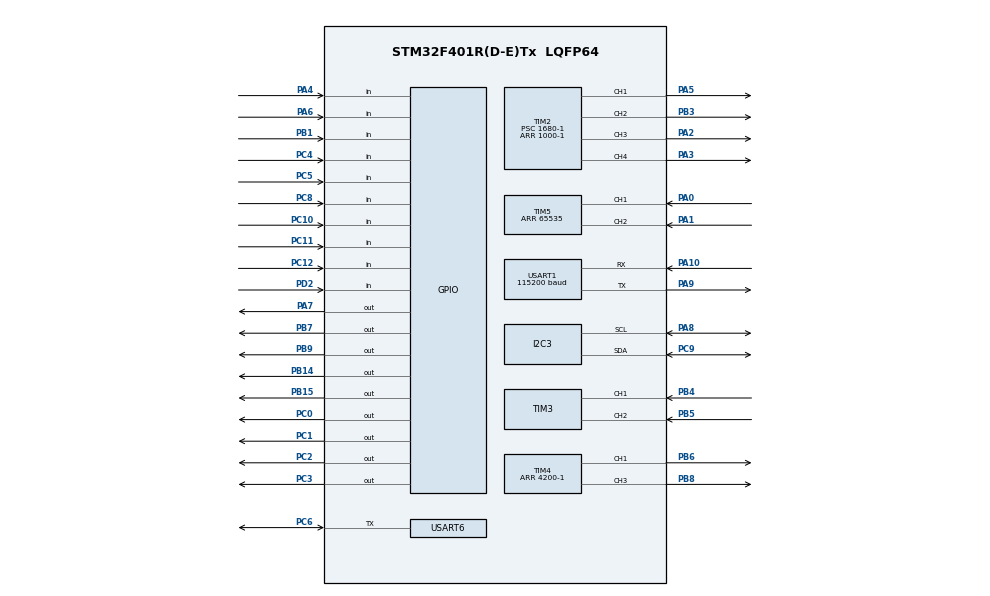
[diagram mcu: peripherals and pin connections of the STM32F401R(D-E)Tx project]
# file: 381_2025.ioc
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Dma.Request0=USART1_RX
Dma.Request1=USART1_TX
Dma.USART1_RX.0.Direction=DMA_PERIPH_TO_MEMORY
Dma.USART1_RX.0.FIFOMode=DMA_FIFOMODE_DISABLE
Dma.USART1_RX.0.Instance=DMA2_Stream2
Dma.USART1_RX.0.MemDataAlignment=DMA_MDATAALIGN_BYTE
Dma.USART1_RX.0.MemInc=DMA_MINC_ENABLE
Dma.USART1_RX.0.Mode=DMA_CIRCULAR
Dma.USART1_RX.0.PeriphDataAlignment=DMA_PDATAALIGN_BYTE
Dma.USART1_RX.0.PeriphInc=DMA_PINC_DISABLE
Dma.USART1_RX.0.Priority=DMA_PRIORITY_LOW
Dma.USART1_TX.1.Direction=DMA_MEMORY_TO_PERIPH
Dma.USART1_TX.1.FIFOMode=DMA_FIFOMODE_DISABLE
Dma.USART1_TX.1.Instance=DMA2_Stream7
Dma.USART1_TX.1.MemDataAlignment=DMA_MDATAALIGN_BYTE
Dma.USART1_TX.1.MemInc=DMA_MINC_ENABLE
Dma.USART1_TX.1.Mode=DMA_CIRCULAR
Dma.USART1_TX.1.PeriphDataAlignment=DMA_PDATAALIGN_BYTE
Dma.USART1_TX.1.PeriphInc=DMA_PINC_DISABLE
Dma.USART1_TX.1.Priority=DMA_PRIORITY_LOW
Mcu.Family=STM32F4
Mcu.Name=STM32F401R(D-E)Tx
Mcu.Package=LQFP64
NVIC.DMA2_Stream2_IRQn=true\:0\:0\:false\:false\:true\:false\:true\:true
NVIC.DMA2_Stream7_IRQn=true\:0\:0\:false\:false\:true\:false\:true\:true
NVIC.PriorityGroup=NVIC_PRIORITYGROUP_0
NVIC.TIM1_UP_TIM10_IRQn=true\:0\:0\:false\:false\:true\:true\:true\:true
PA0-WKUP.Signal=S_TIM5_CH1
PA1.Signal=S_TIM5_CH2
PA10.Mode=Asynchronous
PA10.Signal=USART1_RX
PA2.Signal=S_TIM2_CH3
PA3.Signal=S_TIM2_CH4
PA4.GPIO_PuPd=GPIO_PULLDOWN
PA4.Signal=GPIO_Input
PA5.Signal=S_TIM2_CH1_ETR
PA6.GPIO_PuPd=GPIO_PULLDOWN
PA6.Signal=GPIO_Input
PA7.Signal=GPIO_Output
PA8.Mode=I2C
PA8.Signal=I2C3_SCL
PA9.Mode=Asynchronous
PA9.Signal=USART1_TX
PB1.GPIO_PuPd=GPIO_PULLDOWN
PB1.Signal=GPIO_Input
PB14.Signal=GPIO_Output
PB15.Signal=GPIO_Output
PB3.Signal=S_TIM2_CH2
PB4.Signal=S_TIM3_CH1
PB5.Signal=S_TIM3_CH2
PB6.Signal=S_TIM4_CH1
PB7.Signal=GPIO_Output
PB8.Signal=S_TIM4_CH3
PB9.Signal=GPIO_Output
PC0.Signal=GPIO_Output
PC1.Signal=GPIO_Output
PC10.GPIO_PuPd=GPIO_PULLDOWN
PC10.Signal=GPIO_Input
PC11.GPIO_PuPd=GPIO_PULLDOWN
PC11.Signal=GPIO_Input
PC12.GPIO_PuPd=GPIO_PULLDOWN
PC12.Signal=GPIO_Input
PC2.Signal=GPIO_Output
PC3.Signal=GPIO_Output
PC4.Signal=GPIO_Input
PC5.Signal=GPIO_Input
PC6.GPIO_PuPd=GPIO_PULLUP
PC6.Mode=Half_duplex(single_wire_mode)
PC6.Signal=USART6_TX
PC8.GPIO_PuPd=GPIO_PULLDOWN
PC8.Signal=GPIO_Input
PC9.Mode=I2C
PC9.Signal=I2C3_SDA
PD2.GPIO_PuPd=GPIO_PULLDOWN
PD2.Signal=GPIO_Input
PH0\ -\ OSC_IN.Mode=HSE-External-Oscillator
PH0\ -\ OSC_IN.Signal=RCC_OSC_IN
PH1\ -\ OSC_OUT.Mode=HSE-External-Oscillator
PH1\ -\ OSC_OUT.Signal=RCC_OSC_OUT
ProjectManager.HeapSize=0x200
ProjectManager.StackSize=0x400
ProjectManager.TargetToolchain=STM32CubeIDE
RCC.48MHZClocksFreq_Value=24000000
RCC.AHBFreq_Value=84000000
RCC.APB1CLKDivider=RCC_HCLK_DIV2
RCC.APB1Freq_Value=42000000
RCC.APB1TimFreq_Value=84000000
RCC.APB2Freq_Value=84000000
RCC.APB2TimFreq_Value=84000000
RCC.CortexFreq_Value=84000000
RCC.HCLKFreq_Value=84000000
RCC.HSE_VALUE=8000000
RCC.HSI_VALUE=16000000
RCC.LSE_VALUE=32768
RCC.PLLM=4
RCC.PLLN=84
RCC.PLLQ=7
RCC.PLLSourceVirtual=RCC_PLLSOURCE_HSE
RCC.SYSCLKFreq_VALUE=84000000
RCC.SYSCLKSource=RCC_SYSCLKSOURCE_PLLCLK
RCC.VCOOutputFreq_Value=168000000
SH.S_TIM2_CH1_ETR.0=TIM2_CH1,PWM Generation1 CH1
SH.S_TIM2_CH2.0=TIM2_CH2,PWM Generation2 CH2
SH.S_TIM2_CH3.0=TIM2_CH3,PWM Generation3 CH3
SH.S_TIM2_CH4.0=TIM2_CH4,PWM Generation4 CH4
SH.S_TIM3_CH1.0=TIM3_CH1,Encoder_Interface
SH.S_TIM3_CH2.0=TIM3_CH2,Encoder_Interface
SH.S_TIM4_CH1.0=TIM4_CH1,PWM Generation1 CH1
SH.S_TIM4_CH3.0=TIM4_CH3,PWM Generation3 CH3
SH.S_TIM5_CH1.0=TIM5_CH1,Encoder_Interface
SH.S_TIM5_CH2.0=TIM5_CH2,Encoder_Interface
TIM10.Period=1000-1
TIM10.Prescaler=84-1
TIM2.Channel-PWM\ Generation1\ CH1=TIM_CHANNEL_1
TIM2.Channel-PWM\ Generation2\ CH2=TIM_CHANNEL_2
TIM2.Channel-PWM\ Generation3\ CH3=TIM_CHANNEL_3
TIM2.Channel-PWM\ Generation4\ CH4=TIM_CHANNEL_4
TIM2.Period=1000-1
TIM2.Prescaler=1680-1
TIM3.EncoderMode=TIM_ENCODERMODE_TI12
TIM3.IC1Polarity=TIM_ICPOLARITY_FALLING
TIM3.IC2Polarity=TIM_ICPOLARITY_RISING
TIM4.AutoReloadPreload=TIM_AUTORELOAD_PRELOAD_DISABLE
TIM4.Channel-PWM\ Generation1\ CH1=TIM_CHANNEL_1
TIM4.Channel-PWM\ Generation3\ CH3=TIM_CHANNEL_3
TIM4.Period=4200-1
TIM5.EncoderMode=TIM_ENCODERMODE_TI12
TIM5.IC1Polarity=TIM_ICPOLARITY_RISING
TIM5.Period=65535
USART1.BaudRate=115200
USART1.VirtualMode=VM_ASYNC
USART6.BaudRate=9600
USART6.VirtualMode=VM_ASYNC
VP_TIM10_VS_ClockSourceINT.Mode=Enable_Timer
VP_TIM2_VS_ClockSourceINT.Mode=Internal
VP_TIM4_VS_ClockSourceINT.Mode=Internal
board=NUCLEO-F401RE

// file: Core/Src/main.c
/* USER CODE BEGIN Header */
/**
 ******************************************************************************
 * @file           : main.c
 * @brief          : Main program body
 ******************************************************************************
 * @attention
 *
 * Copyright (c) 2024 STMicroelectronics.
 * All rights reserved.
 *
 * This software is licensed under terms that can be found in the LICENSE file
 * in the root directory of this software component.
 * If no LICENSE file comes with this software, it is provided AS-IS.
 *
 ******************************************************************************
 */
/* USER CODE END Header */
#include "main.h"
#include "dma.h"
#include "i2c.h"
#include "tim.h"
#include "usart.h"
#include "gpio.h"

/* USER CODE BEGIN PV */
static tactic_num *tactic_ptr;
int8_t main_fsm_case = 0;
uint32_t delay_1_start = 0xFFFFFFFF;
uint8_t flag_end = 0;
uint8_t flag_95_main = 0;

/* test promenljive */
volatile uint8_t ax_id_test = 10;
volatile uint16_t ax_angle_test = 511;
volatile uint16_t ax_speed_test = 200;
volatile uint16_t out_0, out_1, out_2, out_3;
volatile uint8_t in_0, in_1;
extern int16_t ax_1_offs;

/* USER CODE END PV */

void
SystemClock_Config (void);

int
main (void)
{

	/* MCU Configuration--------------------------------------------------------*/

	/* Reset of all peripherals, Initializes the Flash interface and the Systick. */
	HAL_Init ();

	/* Configure the system clock */
	SystemClock_Config ();

	/* Initialize all configured peripherals */
	MX_GPIO_Init ();
	MX_DMA_Init ();
	MX_TIM4_Init ();
	MX_TIM10_Init ();
	MX_TIM5_Init ();
	MX_TIM3_Init ();
	MX_USART6_UART_Init ();
	MX_TIM2_Init ();
	MX_USART1_UART_Init ();
	MX_I2C3_Init ();
	/* USER CODE BEGIN 2 */
	pwm_start ();
	time_start ();
	base_init ();
	odometry_init ();
	regulation_init ();
	rpi_init ();
	sg90_init ();
	ax_init ();
	tactic_ptr = get_tact_num_ptr ();
	/* USER CODE END 2 */

	/* Infinite loop */
	while (1)
		{

			/* USER CODE BEGIN 3 */
			switch (main_fsm_case)
				{
				case 0:
					mechanism_init ();
					set_regulation_status (0);
					main_fsm_case = 1;
					break;

				case 1:
					choose_tactic (tactic_ptr);
					if (cinc_db ())
						{
							start_match ();
							display_ready ();
							main_fsm_case = tactic_ptr->num + 10;
//							main_fsm_case = 105;
							set_regulation_status (1);
						}
					break;

				case 10:
					if (tact_0 () == TASK_SUCCESS)
						main_fsm_case = -1;
					break;

				case 11:
					if (tact_1 () == TASK_SUCCESS)
						main_fsm_case = -1;
					break;

					//				case 13:
					//					if (tact_homologation () == TASK_SUCCESS)
					//						main_fsm_case = -1;
					//					break;

				case 12:
					if (tact_3 () == TASK_SUCCESS)
						main_fsm_case = -1;
					break;

				case 13:
//			if (tact_dev_3() == TASK_SUCCESS)
//				main_fsm_case = -1;
					test_tact ();
					break;

				case 20:
					ax_move (ax_id_test, ax_angle_test, ax_speed_test, huart6);
//					ax_move (1, ax_angle_test + ax_1_offs, ax_speed_test, huart6);
					in_0 = check_back ();
					in_1 = check_front ();
					break;

				case 30:
					lift_back_down ();
					HAL_Delay (2000);
					main_fsm_case = 31;
					break;
				case 31:
					ruc_back_down ();
					in_0 = check_back ();
					break;

					// Go to HOME
				case -10:
					if (move_to_xy (x_side (-1000), 500, FORWARD, V_MAX_DEF, W_MAX_DEF,
					FORWARD) == TASK_SUCCESS)
						main_fsm_case = -1;
					if (!flag_95_main)
						{
							reset_movement ();
							flag_95_main = 1;
						}
					break;

				case -1:
					if (!flag_end)
						{
							if (fabs (get_robot_base ()->x) > 750 && get_robot_base ()->y > 450)
								add_points (10);
							flag_end = 1;
							vacuum_front (0);
							vacuum_back (0);
							HD44780_Init_blocking (2);
							HD44780_Clear ();
							HD44780_Backlight ();
							HD44780_SetCursor (0, 0);
							HD44780_PrintStr ("+381");
							HD44780_SetCursor (9, 0);
							HD44780_PrintStr ("pts:");
							HD44780_SetCursor (4, 0);
							HD44780_SetCursor (8, 1);
							HD44780_PrintStr ("time:");
							display_write_pts (get_points ());
							display_write_time (get_time_s ());
							display_write_case ();
						}
					set_regulation_status (0);
					stop_match ();
					HAL_Delay (10);
					time_stop ();
					break;

				default:
					if (tact_dev_3 ())
						main_fsm_case = -1;
					break;
				}

//			display_fsm ();
		}
	/* USER CODE END 3 */
}

void
SystemClock_Config (void)
{
	RCC_OscInitTypeDef RCC_OscInitStruct =
		{ 0 };
	RCC_ClkInitTypeDef RCC_ClkInitStruct =
		{ 0 };

	/** Configure the main internal regulator output voltage
	 */
	__HAL_RCC_PWR_CLK_ENABLE();
	__HAL_PWR_VOLTAGESCALING_CONFIG(PWR_REGULATOR_VOLTAGE_SCALE2);

	/** Initializes the RCC Oscillators according to the specified parameters
	 * in the RCC_OscInitTypeDef structure.
	 */
	RCC_OscInitStruct.OscillatorType = RCC_OSCILLATORTYPE_HSE;
	RCC_OscInitStruct.HSEState = RCC_HSE_ON;
	RCC_OscInitStruct.PLL.PLLState = RCC_PLL_ON;
	RCC_OscInitStruct.PLL.PLLSource = RCC_PLLSOURCE_HSE;
	RCC_OscInitStruct.PLL.PLLM = 4;
	RCC_OscInitStruct.PLL.PLLN = 84;
	RCC_OscInitStruct.PLL.PLLP = RCC_PLLP_DIV2;
	RCC_OscInitStruct.PLL.PLLQ = 7;
	if (HAL_RCC_OscConfig (&RCC_OscInitStruct) != HAL_OK)
		{
			Error_Handler ();
		}

	/** Initializes the CPU, AHB and APB buses clocks
	 */
	RCC_ClkInitStruct.ClockType = RCC_CLOCKTYPE_HCLK | RCC_CLOCKTYPE_SYSCLK | RCC_CLOCKTYPE_PCLK1 | RCC_CLOCKTYPE_PCLK2;
	RCC_ClkInitStruct.SYSCLKSource = RCC_SYSCLKSOURCE_PLLCLK;
	RCC_ClkInitStruct.AHBCLKDivider = RCC_SYSCLK_DIV1;
	RCC_ClkInitStruct.APB1CLKDivider = RCC_HCLK_DIV2;
	RCC_ClkInitStruct.APB2CLKDivider = RCC_HCLK_DIV1;

	if (HAL_RCC_ClockConfig (&RCC_ClkInitStruct, FLASH_LATENCY_2) != HAL_OK)
		{
			Error_Handler ();
		}
}

/* USER CODE BEGIN 4 */

int
_write (int le, char *ptr, int len)
{
	int DataIdx;
	for (DataIdx = 0; DataIdx < len; DataIdx++)
		{
			ITM_SendChar (*ptr++);
		}
	return len;
}

/* USER CODE END 4 */

void
Error_Handler (void)
{
	/* USER CODE BEGIN Error_Handler_Debug */
	/* User can add his own implementation to report the HAL error return state */
	__disable_irq ();
	while (1)
		{
		}
	/* USER CODE END Error_Handler_Debug */
}
